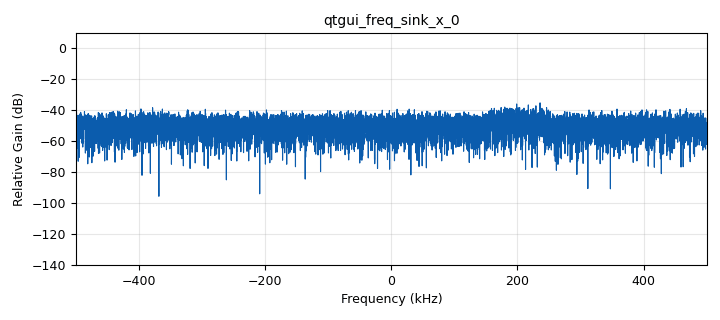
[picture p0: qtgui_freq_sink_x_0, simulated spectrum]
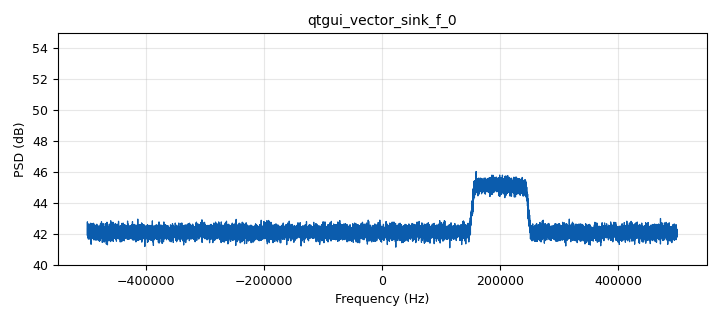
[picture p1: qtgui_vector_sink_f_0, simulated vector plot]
options:
  parameters:
    author: Daniel Estevez
    generate_options: qt_gui
    id: spectral_analysis_sim
    output_language: python
    title: Spectral Analysis (simulation)
  states: {}

blocks:
- name: integration_seconds
  id: variable
  parameters:
    value: '5'
  states: {}
- name: integrations
  id: variable
  parameters:
    value: int(np.round(samp_rate / nfft * integration_seconds))
  states: {}
- name: narrowband_frequency
  id: variable_qtgui_entry
  parameters:
    label: Narrowband signal frequency (kHz)
    type: real
    value: '-100'
  states: {}
- name: narrowband_snr
  id: variable_qtgui_entry
  parameters:
    label: Narrowband signal CN0 (dB·Hz)
    type: real
    value: '0'
  states: {}
- name: nfft
  id: variable
  parameters:
    value: 2**14
  states: {}
- name: samp_rate
  id: variable
  parameters:
    value: 1e6
  states: {}
- name: wideband_bandwidth
  id: variable_qtgui_entry
  parameters:
    label: Wideband signal bandwidth (kHz)
    type: real
    value: '100'
  states: {}
- name: wideband_frequency
  id: variable_qtgui_entry
  parameters:
    label: Wideband signal frequency (kHz)
    type: real
    value: '200'
  states: {}
- name: wideband_snr
  id: variable_qtgui_entry
  parameters:
    label: Wideband signal SNR (dB)
    type: real
    value: '0'
  states: {}
- name: analog_noise_source_x_0
  id: analog_noise_source_x
  parameters:
    amp: '1'
    noise_type: analog.GR_GAUSSIAN
    seed: '0'
    type: complex
  states: {}
- name: analog_noise_source_x_1
  id: analog_noise_source_x
  parameters:
    amp: np.sqrt(10**(wideband_snr/10.0)/(samp_rate/(wideband_bandwidth*1e3)))
    noise_type: analog.GR_GAUSSIAN
    seed: '0'
    type: complex
  states: {}
- name: analog_sig_source_x_0
  id: analog_sig_source_x
  parameters:
    amp: '1'
    freq: wideband_frequency*1e3
    offset: '0'
    phase: '0'
    samp_rate: samp_rate
    type: complex
    waveform: analog.GR_COS_WAVE
  states: {}
- name: analog_sig_source_x_1
  id: analog_sig_source_x
  parameters:
    amp: np.sqrt(10**(narrowband_snr/10.0)/samp_rate)
    freq: narrowband_frequency * 1e3
    offset: '0'
    phase: '0'
    samp_rate: samp_rate
    type: complex
    waveform: analog.GR_COS_WAVE
  states: {}
- name: blocks_add_xx_0
  id: blocks_add_xx
  parameters:
    num_inputs: '3'
    type: complex
  states: {}
- name: blocks_complex_to_mag_squared_0
  id: blocks_complex_to_mag_squared
  parameters:
    vlen: nfft
  states: {}
- name: blocks_integrate_xx_0
  id: blocks_integrate_xx
  parameters:
    decim: integrations
    type: float
    vlen: nfft
  states: {}
- name: blocks_multiply_const_vxx_0
  id: blocks_multiply_const_vxx
  parameters:
    const: '[1/integrations] * nfft'
    type: float
    vlen: nfft
  states: {}
- name: blocks_multiply_xx_0
  id: blocks_multiply_xx
  parameters:
    type: complex
  states: {}
- name: blocks_nlog10_ff_0
  id: blocks_nlog10_ff
  parameters:
    k: '0'
    n: '10'
    vlen: nfft
  states: {}
- name: blocks_repeat_0
  id: blocks_repeat
  parameters:
    interp: '100'
    type: float
    vlen: nfft
  states: {}
- name: blocks_stream_to_vector_0
  id: blocks_stream_to_vector
  parameters:
    num_items: nfft
    type: complex
  states: {}
- name: blocks_throttle2_0
  id: blocks_throttle2
  parameters:
    samples_per_second: samp_rate
    type: complex
  states: {}
- name: fft_vxx_0
  id: fft_vxx
  parameters:
    fft_size: nfft
    forward: 'True'
    shift: 'True'
    type: complex
    window: '[]'
  states: {}
- name: import_0
  id: import
  parameters:
    imports: import numpy as np
  states: {}
- name: pfb_arb_resampler_xxx_0
  id: pfb_arb_resampler_xxx
  parameters:
    atten: '100'
    nfilts: '32'
    rrate: samp_rate/(wideband_bandwidth*1e3)
    type: ccf
  states: {}
- name: qtgui_freq_sink_x_0
  id: qtgui_freq_sink_x
  parameters:
    bw: samp_rate
    fc: '0'
    fftsize: nfft
    type: complex
  states: {}
- name: qtgui_vector_sink_f_0
  id: qtgui_vector_sink_f
  parameters:
    vlen: nfft
    x_axis_label: '"Frequency (Hz)"'
    x_start: '-samp_rate/2'
    x_step: samp_rate/nfft
    y_axis_label: '"PSD (dB)"'
    ymax: '55'
    ymin: '40'
  states: {}
- name: virtual_sink_0
  id: virtual_sink
  parameters:
    stream_id: signal
  states: {}
- name: virtual_source_0
  id: virtual_source
  parameters:
    stream_id: signal
  states: {}

connections:
- [analog_noise_source_x_0, '0', blocks_add_xx_0, '0']
- [analog_noise_source_x_1, '0', pfb_arb_resampler_xxx_0, '0']
- [analog_sig_source_x_0, '0', blocks_multiply_xx_0, '1']
- [analog_sig_source_x_1, '0', blocks_add_xx_0, '2']
- [blocks_add_xx_0, '0', blocks_throttle2_0, '0']
- [blocks_complex_to_mag_squared_0, '0', blocks_integrate_xx_0, '0']
- [blocks_integrate_xx_0, '0', blocks_multiply_const_vxx_0, '0']
- [blocks_multiply_const_vxx_0, '0', blocks_nlog10_ff_0, '0']
- [blocks_multiply_xx_0, '0', blocks_add_xx_0, '1']
- [blocks_nlog10_ff_0, '0', blocks_repeat_0, '0']
- [blocks_repeat_0, '0', qtgui_vector_sink_f_0, '0']
- [blocks_stream_to_vector_0, '0', fft_vxx_0, '0']
- [blocks_throttle2_0, '0', qtgui_freq_sink_x_0, '0']
- [blocks_throttle2_0, '0', virtual_sink_0, '0']
- [fft_vxx_0, '0', blocks_complex_to_mag_squared_0, '0']
- [pfb_arb_resampler_xxx_0, '0', blocks_multiply_xx_0, '0']
- [virtual_source_0, '0', blocks_stream_to_vector_0, '0']

metadata:
  file_format: 1
  grc_version: 3.10.6.0
